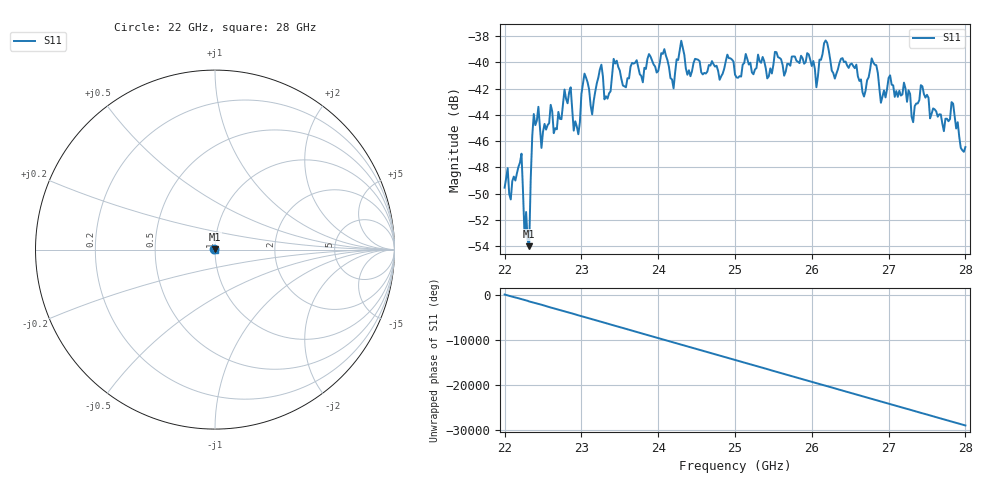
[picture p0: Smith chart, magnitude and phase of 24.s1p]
#  HZ  S  RI  R  50.00
! Rohde & Schwarz ZVA40 4Ports - Version 3.90 - 1145.1110k42 SN: 100403
! Date: 2023-10-04 06:03:44
! Measurement: S12
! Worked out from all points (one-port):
!   301 points, 22 GHz to 28 GHz, reference 50 ohm
!   lowest |S11| = -54.0 dB at 22.32 GHz (marker M1), VSWR 1.00, Z = 50.1 + j0.167 ohm
!   |S11| at or under -10 dB: start of sweep to end of sweep
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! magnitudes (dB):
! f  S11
! 22 GHz  -49.5
! 22.22 GHz  -47.0
! 22.26 GHz  -53.3
! 22.28 GHz  -51.4
! 22.32 GHz  -54.0
! 22.38 GHz  -43.9
! 22.48 GHz  -46.5
! 22.76 GHz  -43.2
! 22.86 GHz  -41.9
! 22.96 GHz  -45.5
! 23.04 GHz  -40.9
! 23.14 GHz  -44.0
! 23.26 GHz  -40.2
! 23.3 GHz  -42.8
! 23.5 GHz  -40.6
! 24.26 GHz  -39.8
! 25 GHz  -40.9
! 25.76 GHz  -39.6
! 26.06 GHz  -41.9
! 26.18 GHz  -38.3
! 26.3 GHz  -41.2
! 26.5 GHz  -40.2
! 27.26 GHz  -42.1
! 27.32 GHz  -44.6
! 27.42 GHz  -41.7
! 27.72 GHz  -45.2
! 27.84 GHz  -43.1
! 28 GHz  -46.5
